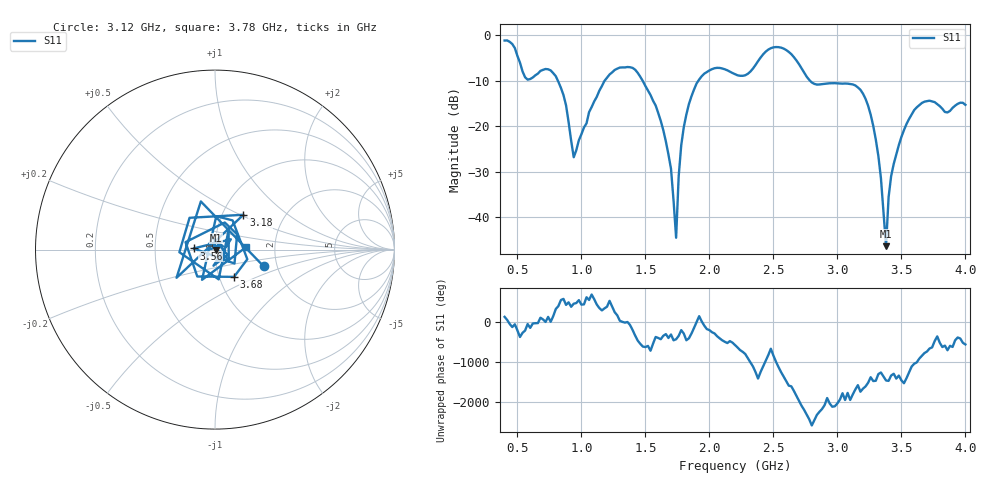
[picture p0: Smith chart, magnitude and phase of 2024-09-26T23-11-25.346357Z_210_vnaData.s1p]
!Created with skrf (http://scikit-rf.org).
# Hz S RI R 50.0
!freq ReS11 ImS11
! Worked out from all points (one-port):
!   181 points, 400 MHz to 4 GHz, reference 50 ohm
!   lowest |S11| = -46.4 dB at 3.38 GHz (marker M1), VSWR 1.01, Z = 50.4 - j0.211 ohm
!   |S11| at or under -10 dB: 815.7 MHz to 1.182 GHz (366.5 MHz wide, 36.7 % of centre); 1.478 GHz to 1.915 GHz (437 MHz wide, 25.8 % of centre); 2.785 GHz to end of sweep
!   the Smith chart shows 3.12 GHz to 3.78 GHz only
!   S11 on the Smith chart (normalised r, x): 3.12 GHz: 1.70, -0.35; 3.18 GHz: 1.26, +0.52; 3.56 GHz: 0.79, +0.01; 3.68 GHz: 1.17, -0.37; 3.78 GHz: 1.42, +0.04
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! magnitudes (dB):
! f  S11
! 400 MHz  -1.2
! 560 MHz  -9.3
! 760 MHz  -7.8
! 860 MHz  -13.2
! 940 MHz  -26.9
! 1.14 GHz  -12.2
! 1.3 GHz  -7.1
! 1.42 GHz  -7.6
! 1.6 GHz  -17.1
! 1.7 GHz  -29.4
! 1.74 GHz  -44.6
! 1.76 GHz  -31.0
! 1.8 GHz  -20.2
! 1.9 GHz  -10.6
! 2.2 GHz  -8.6
! 2.5 GHz  -2.7
! 2.66 GHz  -4.8
! 2.82 GHz  -10.7
! 3.1 GHz  -10.8
! 3.12 GHz  -10.8
! 3.18 GHz  -12.0
! 3.3 GHz  -23.0
! 3.38 GHz  -46.4
! 3.42 GHz  -31.0
! 3.56 GHz  -18.4
! 3.68 GHz  -14.6
! 3.78 GHz  -15.2
! 4 GHz  -15.3
